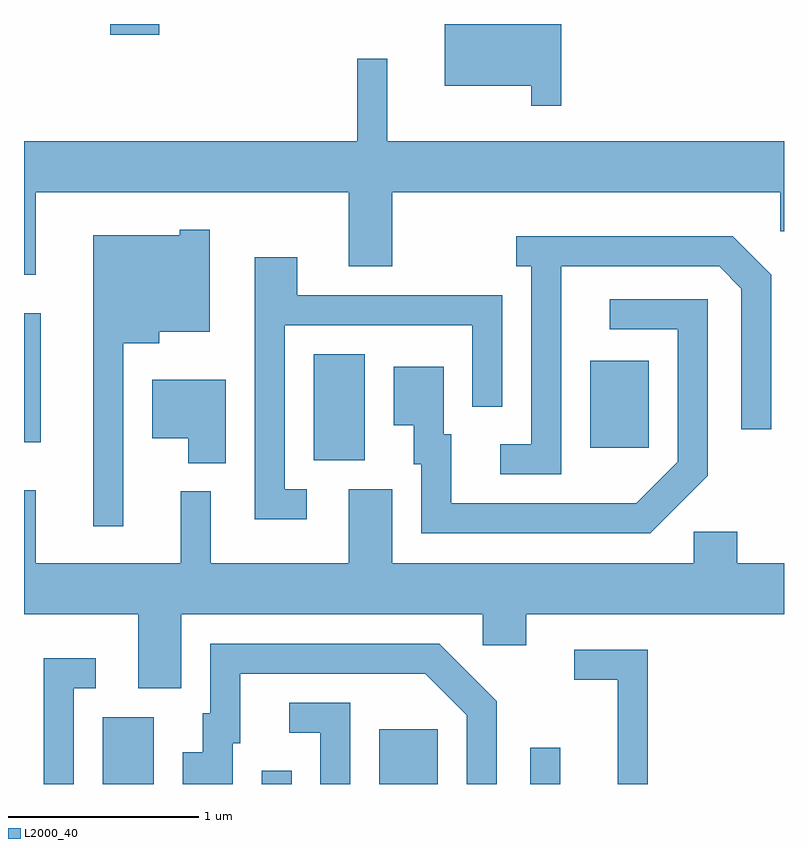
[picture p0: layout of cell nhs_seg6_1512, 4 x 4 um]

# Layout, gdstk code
import gdstk
lib = gdstk.Library(unit=1e-6, precision=1e-09)
def R(c, l, rs):  # rectangles x0, y0, x1, y1
    for r in rs: c.add(gdstk.rectangle(r[:2], r[2:], *l))
def P(c, l, *ps):  # polygons
    for p in ps: c.add(gdstk.Polygon(p, *l))
L2000_40 = (2000, 40)

nhs_seg6_1512 = lib.new_cell('nhs_seg6_1512')
R(nhs_seg6_1512, L2000_40, [(230.026,1640.162,230.294,1640.514), (230.861,1640.162,231.019,1640.233), (231.481,1640.162,231.789,1640.449), (232.276,1640.162,232.434,1640.353), (231.136,1641.866,231.404,1642.424), (232.591,1641.931,232.899,1642.389), (229.611,1641.961,229.699,1642.639), (230.066,1644.106,230.324,1644.162)])
P(nhs_seg6_1512, L2000_40, [(232.439,1644.162),(231.826,1644.162),(231.826,1643.836),(232.281,1643.836),(232.281,1643.733),(232.439,1643.733)],
  [(231.524,1643.978),(231.366,1643.978),(231.366,1643.544),(229.611,1643.544),(229.611,1642.843),(229.674,1642.843),(229.674,1643.276),(231.321,1643.276),(231.321,1642.886),(231.549,1642.886),(231.549,1643.276),(233.591,1643.276),(233.591,1643.071),(233.611,1643.071),(233.611,1643.544),(231.524,1643.544)],
  [(230.134,1642.481),(230.324,1642.481),(230.324,1642.541),(230.589,1642.541),(230.589,1643.079),(230.431,1643.079),(230.431,1643.049),(229.976,1643.049),(229.976,1641.518),(230.134,1641.518)],
  [(232.439,1642.886),(233.269,1642.886),(233.386,1642.769),(233.386,1642.028),(233.544,1642.028),(233.544,1642.842),(233.342,1643.044),(232.203,1643.044),(232.203,1642.886),(232.281,1642.886),(232.281,1641.949),(232.118,1641.949),(232.118,1641.791),(232.439,1641.791)],
  [(231.098,1641.714),(230.984,1641.714),(230.984,1642.576),(231.971,1642.576),(231.971,1642.148),(232.129,1642.148),(232.129,1642.734),(231.049,1642.734),(231.049,1642.934),(230.826,1642.934),(230.826,1641.556),(231.098,1641.556)],
  [(233.209,1641.784),(233.209,1642.714),(232.693,1642.714),(232.693,1642.556),(233.051,1642.556),(233.051,1641.857),(232.834,1641.639),(231.859,1641.639),(231.859,1642.004),(231.819,1642.004),(231.819,1642.359),(231.556,1642.359),(231.556,1642.051),(231.661,1642.051),(231.661,1641.846),(231.701,1641.846),(231.701,1641.481),(232.907,1641.481)],
  [(230.674,1642.289),(230.286,1642.289),(230.286,1641.981),(230.476,1641.981),(230.476,1641.851),(230.674,1641.851)],
  [(230.439,1641.056),(232.026,1641.056),(232.026,1640.891),(232.254,1640.891),(232.254,1641.056),(233.611,1641.056),(233.611,1641.324),(233.364,1641.324),(233.364,1641.489),(233.136,1641.489),(233.136,1641.324),(231.549,1641.324),(231.549,1641.714),(231.321,1641.714),(231.321,1641.324),(230.594,1641.324),(230.594,1641.703),(230.436,1641.703),(230.436,1641.324),(229.674,1641.324),(229.674,1641.708),(229.611,1641.708),(229.611,1641.056),(230.211,1641.056),(230.211,1640.666),(230.439,1640.666)],
  [(230.709,1640.376),(230.749,1640.376),(230.749,1640.741),(231.724,1640.741),(231.941,1640.524),(231.941,1640.162),(232.099,1640.162),(232.099,1640.597),(231.797,1640.899),(230.591,1640.899),(230.591,1640.534),(230.551,1640.534),(230.551,1640.329),(230.446,1640.329),(230.446,1640.162),(230.709,1640.162)],
  [(232.894,1640.869),(232.508,1640.869),(232.508,1640.711),(232.736,1640.711),(232.736,1640.162),(232.894,1640.162)],
  [(229.874,1640.666),(229.988,1640.666),(229.988,1640.824),(229.716,1640.824),(229.716,1640.162),(229.874,1640.162)],
  [(231.329,1640.589),(231.008,1640.589),(231.008,1640.431),(231.171,1640.431),(231.171,1640.162),(231.329,1640.162)])

lib.write_gds('nhs_seg6_1512.gds')
